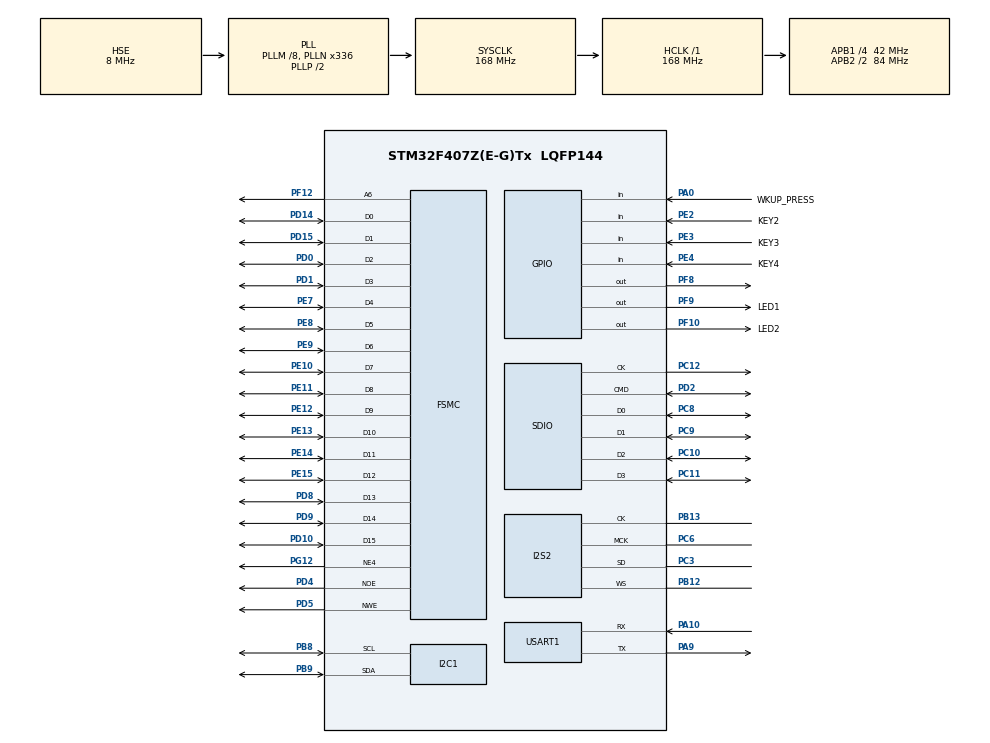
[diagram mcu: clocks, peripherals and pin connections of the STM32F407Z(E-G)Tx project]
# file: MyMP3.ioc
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Dma.Request0=SPI2_TX
Dma.Request1=SDIO_RX
Dma.Request2=SDIO_TX
Dma.SDIO_RX.1.Direction=DMA_PERIPH_TO_MEMORY
Dma.SDIO_RX.1.FIFOMode=DMA_FIFOMODE_ENABLE
Dma.SDIO_RX.1.FIFOThreshold=DMA_FIFO_THRESHOLD_FULL
Dma.SDIO_RX.1.Instance=DMA2_Stream3
Dma.SDIO_RX.1.MemBurst=DMA_MBURST_INC4
Dma.SDIO_RX.1.MemDataAlignment=DMA_MDATAALIGN_WORD
Dma.SDIO_RX.1.MemInc=DMA_MINC_ENABLE
Dma.SDIO_RX.1.Mode=DMA_PFCTRL
Dma.SDIO_RX.1.PeriphBurst=DMA_PBURST_INC4
Dma.SDIO_RX.1.PeriphDataAlignment=DMA_PDATAALIGN_WORD
Dma.SDIO_RX.1.PeriphInc=DMA_PINC_DISABLE
Dma.SDIO_RX.1.Priority=DMA_PRIORITY_LOW
Dma.SDIO_TX.2.Direction=DMA_MEMORY_TO_PERIPH
Dma.SDIO_TX.2.FIFOMode=DMA_FIFOMODE_ENABLE
Dma.SDIO_TX.2.FIFOThreshold=DMA_FIFO_THRESHOLD_FULL
Dma.SDIO_TX.2.Instance=DMA2_Stream6
Dma.SDIO_TX.2.MemBurst=DMA_MBURST_INC4
Dma.SDIO_TX.2.MemDataAlignment=DMA_MDATAALIGN_WORD
Dma.SDIO_TX.2.MemInc=DMA_MINC_ENABLE
Dma.SDIO_TX.2.Mode=DMA_PFCTRL
Dma.SDIO_TX.2.PeriphBurst=DMA_PBURST_INC4
Dma.SDIO_TX.2.PeriphDataAlignment=DMA_PDATAALIGN_WORD
Dma.SDIO_TX.2.PeriphInc=DMA_PINC_DISABLE
Dma.SDIO_TX.2.Priority=DMA_PRIORITY_LOW
Dma.SPI2_TX.0.Direction=DMA_MEMORY_TO_PERIPH
Dma.SPI2_TX.0.FIFOMode=DMA_FIFOMODE_DISABLE
Dma.SPI2_TX.0.Instance=DMA1_Stream4
Dma.SPI2_TX.0.MemDataAlignment=DMA_MDATAALIGN_HALFWORD
Dma.SPI2_TX.0.MemInc=DMA_MINC_ENABLE
Dma.SPI2_TX.0.Mode=DMA_CIRCULAR
Dma.SPI2_TX.0.PeriphDataAlignment=DMA_PDATAALIGN_HALFWORD
Dma.SPI2_TX.0.PeriphInc=DMA_PINC_DISABLE
Dma.SPI2_TX.0.Priority=DMA_PRIORITY_HIGH
FREERTOS.Tasks01=AudioTask,32,6144,StartAudioTask,Default,NULL,Dynamic,NULL,NULL
FREERTOS.configTOTAL_HEAP_SIZE=0xA000
FSMC.DataSetupTime1=200
FSMC.ExtendedDataSetupTime1=15
FSMC.ExtendedMode1=FSMC_EXTENDED_MODE_ENABLE
I2S2.AudioFreq=I2S_AUDIOFREQ_44K
I2S2.DataFormat=I2S_DATAFORMAT_16B_EXTENDED
I2S2.ErrorAudioFreq=0.24 %
I2S2.FullDuplexMode=I2S_FULLDUPLEXMODE_DISABLE
I2S2.Instance=SPI$Index
I2S2.RealAudioFreq=44.108 KHz
I2S2.VirtualMode=I2S_MODE_MASTER
Mcu.Family=STM32F4
Mcu.Name=STM32F407Z(E-G)Tx
Mcu.Package=LQFP144
NVIC.DMA1_Stream4_IRQn=true\:5\:0\:false\:false\:true\:true\:false\:true\:true
NVIC.DMA2_Stream3_IRQn=true\:5\:0\:false\:false\:true\:true\:false\:true\:true
NVIC.DMA2_Stream6_IRQn=true\:5\:0\:false\:false\:true\:true\:false\:true\:true
NVIC.PriorityGroup=NVIC_PRIORITYGROUP_4
NVIC.SDIO_IRQn=true\:5\:0\:false\:false\:true\:true\:true\:true\:true
NVIC.SPI2_IRQn=true\:5\:0\:false\:false\:true\:true\:true\:true\:true
NVIC.TIM6_DAC_IRQn=true\:15\:0\:false\:false\:true\:false\:false\:true\:true
NVIC.TimeBase=TIM6_DAC_IRQn
NVIC.TimeBaseIP=TIM6
PA0-WKUP.GPIO_Label=WKUP_PRESS
PA0-WKUP.GPIO_PuPd=GPIO_PULLDOWN
PA0-WKUP.Signal=GPIO_Input
PA10.Mode=Asynchronous
PA10.Signal=USART1_RX
PA13.Mode=Serial_Wire
PA13.Signal=SYS_JTMS-SWDIO
PA14.Mode=Serial_Wire
PA14.Signal=SYS_JTCK-SWCLK
PA9.Mode=Asynchronous
PA9.Signal=USART1_TX
PB12.Mode=Half_Duplex_Master
PB12.Signal=I2S2_WS
PB13.Mode=Half_Duplex_Master
PB13.Signal=I2S2_CK
PB8.Mode=I2C
PB8.Signal=I2C1_SCL
PB9.Mode=I2C
PB9.Signal=I2C1_SDA
PC10.Mode=SD_4_bits_Wide_bus
PC10.Signal=SDIO_D2
PC11.Mode=SD_4_bits_Wide_bus
PC11.Signal=SDIO_D3
PC12.Mode=SD_4_bits_Wide_bus
PC12.Signal=SDIO_CK
PC3.Mode=Half_Duplex_Master
PC3.Signal=I2S2_SD
PC6.Mode=Master_Clock_Activated
PC6.Signal=I2S2_MCK
PC8.Mode=SD_4_bits_Wide_bus
PC8.Signal=SDIO_D0
PC9.Mode=SD_4_bits_Wide_bus
PC9.Signal=SDIO_D1
PD0.Signal=FSMC_D2_DA2
PD1.Signal=FSMC_D3_DA3
PD10.Signal=FSMC_D15_DA15
PD14.Signal=FSMC_D0_DA0
PD15.Signal=FSMC_D1_DA1
PD2.Mode=SD_4_bits_Wide_bus
PD2.Signal=SDIO_CMD
PD4.Signal=FSMC_NOE
PD5.Signal=FSMC_NWE
PD8.Signal=FSMC_D13_DA13
PD9.Signal=FSMC_D14_DA14
PE10.Signal=FSMC_D7_DA7
PE11.Signal=FSMC_D8_DA8
PE12.Signal=FSMC_D9_DA9
PE13.Signal=FSMC_D10_DA10
PE14.Signal=FSMC_D11_DA11
PE15.Signal=FSMC_D12_DA12
PE2.GPIO_Label=KEY2
PE2.GPIO_PuPd=GPIO_PULLUP
PE2.Signal=GPIO_Input
PE3.GPIO_Label=KEY3
PE3.GPIO_PuPd=GPIO_PULLUP
PE3.Signal=GPIO_Input
PE4.GPIO_Label=KEY4
PE4.GPIO_PuPd=GPIO_PULLUP
PE4.Signal=GPIO_Input
PE7.Signal=FSMC_D4_DA4
PE8.Signal=FSMC_D5_DA5
PE9.Signal=FSMC_D6_DA6
PF10.GPIO_Label=LED2
PF10.PinState=GPIO_PIN_SET
PF10.Signal=GPIO_Output
PF12.Signal=FSMC_A6
PF8.PinState=GPIO_PIN_RESET
PF8.Signal=GPIO_Output
PF9.GPIO_Label=LED1
PF9.PinState=GPIO_PIN_SET
PF9.Signal=GPIO_Output
PG12.Mode=NorPsramChipSelect4_1
PG12.Signal=FSMC_NE4
PH0-OSC_IN.Mode=HSE-External-Oscillator
PH0-OSC_IN.Signal=RCC_OSC_IN
PH1-OSC_OUT.Mode=HSE-External-Oscillator
PH1-OSC_OUT.Signal=RCC_OSC_OUT
ProjectManager.HeapSize=0x200
ProjectManager.StackSize=0x400
ProjectManager.TargetToolchain=MDK-ARM V5.32
RCC.48MHZClocksFreq_Value=48000000
RCC.AHBFreq_Value=168000000
RCC.APB1CLKDivider=RCC_HCLK_DIV4
RCC.APB1Freq_Value=42000000
RCC.APB1TimFreq_Value=84000000
RCC.APB2CLKDivider=RCC_HCLK_DIV2
RCC.APB2Freq_Value=84000000
RCC.APB2TimFreq_Value=168000000
RCC.CortexFreq_Value=168000000
RCC.HCLKFreq_Value=168000000
RCC.HSE_VALUE=8000000
RCC.HSI_VALUE=16000000
RCC.LSE_VALUE=32768
RCC.PLLI2SN=271
RCC.PLLM=8
RCC.PLLN=336
RCC.PLLQ=7
RCC.PLLSourceVirtual=RCC_PLLSOURCE_HSE
RCC.SYSCLKFreq_VALUE=168000000
RCC.SYSCLKSource=RCC_SYSCLKSOURCE_PLLCLK
RCC.VCOOutputFreq_Value=336000000
SH.FSMC_A6.0=FSMC_A6,A6_1
SH.FSMC_D0_DA0.0=FSMC_D0,16b-d1
SH.FSMC_D10_DA10.0=FSMC_D10,16b-d1
SH.FSMC_D11_DA11.0=FSMC_D11,16b-d1
SH.FSMC_D12_DA12.0=FSMC_D12,16b-d1
SH.FSMC_D13_DA13.0=FSMC_D13,16b-d1
SH.FSMC_D14_DA14.0=FSMC_D14,16b-d1
SH.FSMC_D15_DA15.0=FSMC_D15,16b-d1
SH.FSMC_D1_DA1.0=FSMC_D1,16b-d1
SH.FSMC_D2_DA2.0=FSMC_D2,16b-d1
SH.FSMC_D3_DA3.0=FSMC_D3,16b-d1
SH.FSMC_D4_DA4.0=FSMC_D4,16b-d1
SH.FSMC_D5_DA5.0=FSMC_D5,16b-d1
SH.FSMC_D6_DA6.0=FSMC_D6,16b-d1
SH.FSMC_D7_DA7.0=FSMC_D7,16b-d1
SH.FSMC_D8_DA8.0=FSMC_D8,16b-d1
SH.FSMC_D9_DA9.0=FSMC_D9,16b-d1
SH.FSMC_NOE.0=FSMC_NOE,Lcd1
SH.FSMC_NWE.0=FSMC_NWE,Lcd1
USART1.VirtualMode=VM_ASYNC
VP_FATFS_VS_SDIO.Mode=SDIO
VP_FREERTOS_VS_CMSIS_V2.Mode=CMSIS_V2
VP_SYS_VS_tim6.Mode=TIM6
board=custom

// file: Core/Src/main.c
/* USER CODE BEGIN Header */
/**
  ******************************************************************************
  * @file           : main.c
  * @brief          : Main program body
  ******************************************************************************
  * @attention
  *
  * Copyright (c) 2026 STMicroelectronics.
  * All rights reserved.
  *
  * This software is licensed under terms that can be found in the LICENSE file
  * in the root directory of this software component.
  * If no LICENSE file comes with this software, it is provided AS-IS.
  *
  ******************************************************************************
  */
/* USER CODE END Header */
#include "main.h"
#include "cmsis_os.h"
#include "dma.h"
#include "fatfs.h"
#include "i2c.h"
#include "i2s.h"
#include "sdio.h"
#include "usart.h"
#include "gpio.h"
#include "fsmc.h"

/* USER CODE BEGIN Includes */
#include <stdio.h>
#include "es8388.h"
#include "mp3_player.h"
#include "lcd.h"
/* USER CODE END Includes */

void SystemClock_Config(void);
void MX_FREERTOS_Init(void);

int main(void)
{

  /* USER CODE BEGIN 1 */
	uint8_t ret;

  /* USER CODE END 1 */

  /* MCU Configuration--------------------------------------------------------*/

  /* Reset of all peripherals, Initializes the Flash interface and the Systick. */
  HAL_Init();

  /* Configure the system clock */
  SystemClock_Config();

  /* Initialize all configured peripherals */
  MX_GPIO_Init();
  MX_DMA_Init();
  MX_I2C1_Init();
  MX_USART1_UART_Init();
  MX_I2S2_Init();
  MX_SDIO_SD_Init();
  MX_FATFS_Init();
  MX_FSMC_Init();
  /* USER CODE BEGIN 2 */
    /* 打开 CCM 时钟，GUI 任务栈和 LVGL 堆都在 CCM 里 */
    RCC->AHB1ENR |= RCC_AHB1ENR_CCMDATARAMEN;

    /* 1. ES8388 初始化 */
    ret = es8388_init(&hi2c1);
    printf("es8388 init = %d\r\n", ret);
    es8388_adda_cfg(1, 0);
    es8388_output_cfg(1, 1);    /* 耳机通道 + 喇叭通道都打开 */
    es8388_hpvol_set(10);
    es8388_spkvol_set(10);

    /* 2. LCD：FSMC 初始化、读 ID、面板初始化 */
    lcd_init();

  /* USER CODE END 2 */

  /* Init scheduler */
  osKernelInitialize();  /* Call init function for freertos objects (in cmsis_os2.c) */
  MX_FREERTOS_Init();

  /* Start scheduler */
  osKernelStart();

  /* We should never get here as control is now taken by the scheduler */

  /* Infinite loop */
  while (1)
  {

  }
}

void SystemClock_Config(void)
{
  RCC_OscInitTypeDef RCC_OscInitStruct = {0};
  RCC_ClkInitTypeDef RCC_ClkInitStruct = {0};

  /** Configure the main internal regulator output voltage
  */
  __HAL_RCC_PWR_CLK_ENABLE();
  __HAL_PWR_VOLTAGESCALING_CONFIG(PWR_REGULATOR_VOLTAGE_SCALE1);

  /** Initializes the RCC Oscillators according to the specified parameters
  * in the RCC_OscInitTypeDef structure.
  */
  RCC_OscInitStruct.OscillatorType = RCC_OSCILLATORTYPE_HSE;
  RCC_OscInitStruct.HSEState = RCC_HSE_ON;
  RCC_OscInitStruct.PLL.PLLState = RCC_PLL_ON;
  RCC_OscInitStruct.PLL.PLLSource = RCC_PLLSOURCE_HSE;
  RCC_OscInitStruct.PLL.PLLM = 8;
  RCC_OscInitStruct.PLL.PLLN = 336;
  RCC_OscInitStruct.PLL.PLLP = RCC_PLLP_DIV2;
  RCC_OscInitStruct.PLL.PLLQ = 7;
  if (HAL_RCC_OscConfig(&RCC_OscInitStruct) != HAL_OK)
  {
    Error_Handler();
  }

  /** Initializes the CPU, AHB and APB buses clocks
  */
  RCC_ClkInitStruct.ClockType = RCC_CLOCKTYPE_HCLK|RCC_CLOCKTYPE_SYSCLK
                              |RCC_CLOCKTYPE_PCLK1|RCC_CLOCKTYPE_PCLK2;
  RCC_ClkInitStruct.SYSCLKSource = RCC_SYSCLKSOURCE_PLLCLK;
  RCC_ClkInitStruct.AHBCLKDivider = RCC_SYSCLK_DIV1;
  RCC_ClkInitStruct.APB1CLKDivider = RCC_HCLK_DIV4;
  RCC_ClkInitStruct.APB2CLKDivider = RCC_HCLK_DIV2;

  if (HAL_RCC_ClockConfig(&RCC_ClkInitStruct, FLASH_LATENCY_5) != HAL_OK)
  {
    Error_Handler();
  }
}

/* USER CODE BEGIN 4 */
// 重定向 C 库的 printf 到 USART1
int fputc(int ch, FILE *f)
{
    HAL_UART_Transmit(&huart1, (uint8_t *)&ch, 1, HAL_MAX_DELAY);
    return ch;
}

/* USER CODE END 4 */

void HAL_TIM_PeriodElapsedCallback(TIM_HandleTypeDef *htim)
{
  if (htim->Instance == TIM6)
  {
    HAL_IncTick();
  }
}

void Error_Handler(void)
{
  __disable_irq();
  while (1)
  {
  }
}

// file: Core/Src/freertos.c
/* USER CODE BEGIN Header */
/**
  ******************************************************************************
  * File Name          : freertos.c
  * Description        : Code for freertos applications
  ******************************************************************************
  * @attention
  *
  * Copyright (c) 2026 STMicroelectronics.
  * All rights reserved.
  *
  * This software is licensed under terms that can be found in the LICENSE file
  * in the root directory of this software component.
  * If no LICENSE file comes with this software, it is provided AS-IS.
  *
  ******************************************************************************
  */
/* USER CODE END Header */

#include "FreeRTOS.h"
#include "task.h"
#include "main.h"
#include "cmsis_os.h"

/* USER CODE BEGIN Includes */
#include "mp3_player.h" // 必须有，播放器核心
#include <stdio.h>
#include "fatfs.h"
#include "app_key.h"
#include "playlist.h"
#include "settings.h"
#include "lvgl_port.h"
/* USER CODE END Includes */

/* Definitions for AudioTask */
osThreadId_t AudioTaskHandle;
const osThreadAttr_t AudioTask_attributes = {
  .name = "AudioTask",
  .stack_size = 6144 * 4,
  .priority = (osPriority_t) osPriorityAboveNormal,
};

/* USER CODE BEGIN FunctionPrototypes */
static uint8_t audio_play_index(uint8_t index);
static void settings_store(void);
static void playlist_rescan(void);
/* USER CODE END FunctionPrototypes */

void StartAudioTask(void *argument);

void MX_FREERTOS_Init(void); /* (MISRA C 2004 rule 8.1) */

void MX_FREERTOS_Init(void) {

  /* USER CODE BEGIN RTOS_QUEUES */
  app_key_queue_init();
  /* USER CODE END RTOS_QUEUES */

  /* Create the thread(s) */
  /* creation of AudioTask */
  AudioTaskHandle = osThreadNew(StartAudioTask, NULL, &AudioTask_attributes);

  /* USER CODE BEGIN RTOS_THREADS */
  {
    static const osThreadAttr_t KeyTask_attributes = {
      .name = "KeyTask",
      .stack_size = 1024,                               /* 字节 */
      .priority = (osPriority_t) osPriorityNormal,
    };
    (void)osThreadNew(app_key_task, NULL, &KeyTask_attributes);
  }//按键任务

  {
    /* 参考工程的 LVGL 9 端口会创建 lvgl_ui 任务 */
    (void)lvgl_port_start();
  }//LVGL 界面任务
  /* USER CODE END RTOS_THREADS */

}

void StartAudioTask(void *argument)
{
  /* USER CODE BEGIN StartAudioTask */
    FRESULT res;
    key_cmd_t msg;
    uint8_t cmd;
    uint8_t started = 0;
    uint8_t saved_vol;
    uint8_t saved_track;
    uint8_t settings_dirty = 0;
    uint32_t settings_tick = 0;

    (void)argument;

    /* 1. 挂载 SD 卡 */
    res = f_mount(&SDFatFS, SDPath, 1);
    printf("mount = %d\r\n", res);
    if (res != FR_OK) {
        printf("AudioTask: mount failed, suspend\r\n");
        vTaskSuspend(NULL);
    }

    /* 2. 扫描根目录 MP3，生成播放列表 */
    printf("playlist = %u\r\n", (unsigned)playlist_scan());
    if (playlist_count() == 0) {
        printf("AudioTask: no mp3 found\r\n");
    }

    /* 3. 恢复上电记忆：音量 + 曲目 */
    if (settings_load(&saved_vol, &saved_track)) {
        if (saved_vol < APP_VOL_LEVELS) {
            app_key_volume_set(saved_vol);
        }
        if (saved_track < playlist_count()) {
            playlist_set_current(saved_track);
        }
    }

    if (playlist_count() > 0) {
        started = audio_play_index(playlist_current());
    }

    for (;;)
    {
        /* 音量改动延迟保存，避免滑块拖动时反复写 Flash 卡音频 */
        if (started && settings_dirty &&
            (HAL_GetTick() - settings_tick > 500)) {
            settings_store();
            settings_dirty = 0;
        }

        /* 3. 待机：阻塞等命令，不占 CPU */
        if (!started) {
            if (settings_dirty) {
                settings_store();
                settings_dirty = 0;
            }
            if (!app_key_wait_cmd(0xFFFFFFFFu, &msg)) continue;
            cmd = msg.cmd;

            if (cmd == KEY_CMD_TOGGLE_PLAY || cmd == KEY_CMD_REPLAY) {
                if (playlist_count() > 0) {
                    started = audio_play_index(playlist_current());
                } else {
                    printf("AudioTask: no mp3 found\r\n");
                }
            } else if (cmd == KEY_CMD_NEXT) {
                started = audio_play_index(playlist_next());
            } else if (cmd == KEY_CMD_PREV) {
                started = audio_play_index(playlist_prev());
            } else if (cmd == KEY_CMD_VOL_UP) {
                app_key_volume_up();
                settings_dirty = 1;
                settings_tick = HAL_GetTick();
            } else if (cmd == KEY_CMD_VOL_DOWN) {
                app_key_volume_down();
                settings_dirty = 1;
                settings_tick = HAL_GetTick();
            } else if (cmd == KEY_CMD_MODE) {
                playlist_mode_cycle();
                printf("AudioTask: mode = %s\r\n", playlist_mode_name());
            } else if (cmd == KEY_CMD_SELECT) {
                playlist_set_current((uint8_t)msg.value);
                started = audio_play_index(playlist_current());
            } else if (cmd == KEY_CMD_SET_MODE) {
                playlist_set_mode((uint8_t)msg.value);
                printf("AudioTask: mode = %s\r\n", playlist_mode_name());
            } else if (cmd == KEY_CMD_SET_VOLUME) {
                app_key_volume_set((uint8_t)msg.value);
                settings_dirty = 1;
                settings_tick = HAL_GetTick();
            } else if (cmd == KEY_CMD_RESCAN) {
                playlist_rescan();
            }
            continue;
        }

        /* 4. 播放中：喂数据 */
        if (!mp3_player_poll()) {
            printf("AudioTask: Playback done\r\n");
            /* 按当前播放模式决定下一首 */
            started = audio_play_index(playlist_advance());
            continue;
        }

        /* 5. 顺手处理命令，最多等 5ms，保证喂数据节奏 */
        if (app_key_wait_cmd(5, &msg)) {
            cmd = msg.cmd;
            if (cmd == KEY_CMD_TOGGLE_PLAY) {
                if (mp3_player_is_paused()) {
                    mp3_player_resume();
                    printf("resume\r\n");
                } else {
                    mp3_player_pause();
                    printf("pause\r\n");
                }
            } else if (cmd == KEY_CMD_REPLAY) {
                started = audio_play_index(playlist_current());
            } else if (cmd == KEY_CMD_NEXT) {
                started = audio_play_index(playlist_next());
            } else if (cmd == KEY_CMD_PREV) {
                started = audio_play_index(playlist_prev());
            } else if (cmd == KEY_CMD_VOL_UP) {
                app_key_volume_up();
                settings_dirty = 1;
                settings_tick = HAL_GetTick();
            } else if (cmd == KEY_CMD_VOL_DOWN) {
                app_key_volume_down();
                settings_dirty = 1;
                settings_tick = HAL_GetTick();
            } else if (cmd == KEY_CMD_MODE) {
                playlist_mode_cycle();
                printf("AudioTask: mode = %s\r\n", playlist_mode_name());
            } else if (cmd == KEY_CMD_SELECT) {
                playlist_set_current((uint8_t)msg.value);
                started = audio_play_index(playlist_current());
            } else if (cmd == KEY_CMD_SET_MODE) {
                playlist_set_mode((uint8_t)msg.value);
                printf("AudioTask: mode = %s\r\n", playlist_mode_name());
            } else if (cmd == KEY_CMD_SET_VOLUME) {
                app_key_volume_set((uint8_t)msg.value);
                settings_dirty = 1;
                settings_tick = HAL_GetTick();
            } else if (cmd == KEY_CMD_RESCAN) {
                playlist_rescan();
            }
        } else {
            osDelay(1);
        }
    }
  /* USER CODE END StartAudioTask */
}

/* USER CODE BEGIN Application */
static void settings_store(void)
{
    if (!settings_save(app_key_volume_get(), playlist_current())) {
        printf("AudioTask: settings save failed\r\n");
    }
}

static void playlist_rescan(void)
{
    uint8_t n = playlist_scan();

    printf("AudioTask: rescan = %u\r\n", (unsigned)n);
    if (n > 0 && playlist_current() >= n) {
        playlist_set_current(0);
    }
}

static uint8_t audio_play_index(uint8_t index)
{
    char path[20];
    int8_t r;
    uint8_t tries;
    uint8_t total = playlist_count();

    if (total == 0) return 0;

    /* 当前曲目打不开时自动跳到下一首，最多绕一圈 */
    for (tries = 0; tries < total; tries++) {
        playlist_set_current(index);
        playlist_path(index, path, sizeof(path));

        mp3_player_stop();              /* 关掉上一首，避免重复打开文件 */
        r = mp3_player_play(&hi2s2, path);
        if (r == MP3_PLAYER_OK) {
            printf("AudioTask: track %u/%u %s %luHz %uch\r\n",
                   (unsigned)(index + 1), (unsigned)total,
                   playlist_name(index),
                   (unsigned long)mp3_player_sample_rate(),
                   (unsigned)mp3_player_channels());
            settings_store();
            return 1;
        }

        printf("AudioTask: play %u failed = %d, try next\r\n",
               (unsigned)(index + 1), (int)r);
        index = playlist_next();
    }

    printf("AudioTask: no playable track\r\n");
    return 0;
}

/* FreeRTOS 检测到任务栈溢出时调用 */
void vApplicationStackOverflowHook(TaskHandle_t xTask, char *pcTaskName)
{
    (void)xTask;
    printf("STACK OVERFLOW: %s\r\n", pcTaskName);
    while (1) { }
}
/* USER CODE END Application */
